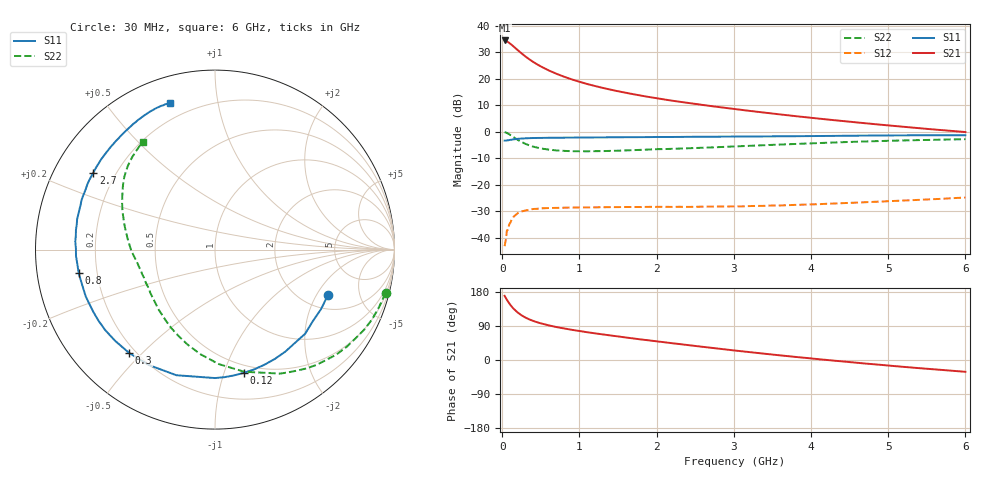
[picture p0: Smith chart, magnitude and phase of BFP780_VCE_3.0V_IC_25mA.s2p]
! Infineon Technologies  Discrete & RF Semiconductors
! BFP780
! VCE =  3.0 V,  IC =  25 mA
! Common Emitter S-Parameters:  Jul 2015
# GHz  S  MA  R  50
!  f  S11  S21  S12  S22
! GHz  MAG  ANG  MAG  ANG  MAG  ANG  MAG  ANG
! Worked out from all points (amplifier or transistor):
!   75 points, 30 MHz to 6 GHz, reference 50 ohm
!   highest |S21| = 34.4 dB at 30 MHz (marker M1)
!   |S21| within 3 dB of that: start of sweep to 174.4 MHz
!   unconditionally stable (mu >= 1): 2.261 GHz to end of sweep
!   at 150 MHz: K = 0.09, MSG = 32.0 dB, |S12| = -32.0 dB
!   at 2.3 GHz: K = 1.01, MAG = 19.1 dB, |S12| = -28.4 dB
!   at 6 GHz: K = 1.37, MAG = 8.7 dB, |S12| = -24.9 dB
!   S11 on the Smith chart (normalised r, x): 30 MHz: 2.66, -2.51; 120 MHz: 0.43, -1.17; 300 MHz: 0.17, -0.46; 800 MHz: 0.13, -0.09; 2.7 GHz: 0.12, +0.28; 6 GHz: 0.12, +0.73
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0.03  0.678 -22.1  52.62 169.3  0.0069 77.7  0.9806 -14.3
0.05  0.6754 -36.3  51.4 162.0  0.0098 67.2  0.9576 -24.0
0.08  0.6902 -55.3  48.44 152.5  0.0156 64.7  0.911 -36.7
0.1  0.6979 -66.5  45.99 146.8  0.0187 58.3  0.8735 -44.7
0.12  0.7054 -76.9  43.61 141.5  0.0219 55.9  0.836 -52.3
0.15  0.7157 -90.0  40.04 134.6  0.0251 48.2  0.7804 -62.3
0.2  0.7323 -107.1  34.54 125.2  0.0289 40.6  0.6999 -76.5
0.25  0.7414 -119.9  29.99 117.8  0.0312 34.1  0.6383 -88.1
0.3  0.7486 -129.8  26.23 112.0  0.0325 30.1  0.5882 -98.0
0.35  0.7537 -137.6  23.2 107.1  0.0336 26.2  0.5502 -106.2
0.4  0.7584 -143.7  20.71 103.2  0.0347 23.8  0.522 -113.0
0.5  0.7618 -153.2  17.01 96.7  0.0357 19.1  0.482 -124.4
0.6  0.7661 -160.1  14.36 91.5  0.0362 16.9  0.4587 -133.2
0.8  0.7705 -170.1  10.89 83.3  0.0367 13.3  0.4341 -145.8
1.1  0.7749 179.6  7.931 73.3  0.0372 10.7  0.4253 -158.5
1.5  0.7826 169.8  5.789 62.2  0.0377 9.1  0.4369 -169.3
2.1  0.7937 158.0  4.049 46.8  0.0382 8.2  0.4689 179.6
2.7  0.8016 147.8  3.047 32.4  0.0385 9.0  0.5034 169.3
3.1  0.8095 141.3  2.575 23.1  0.0389 10.4  0.5325 162.6
4.1  0.8277 126.8  1.764 2.1  0.0428 13.0  0.6091 147.9
5.1  0.8501 115.3  1.273 -16.4  0.0494 13.4  0.6771 135.2
6  0.8558 106.9  0.983 -31.1  0.0571 10.9  0.7209 124.0
